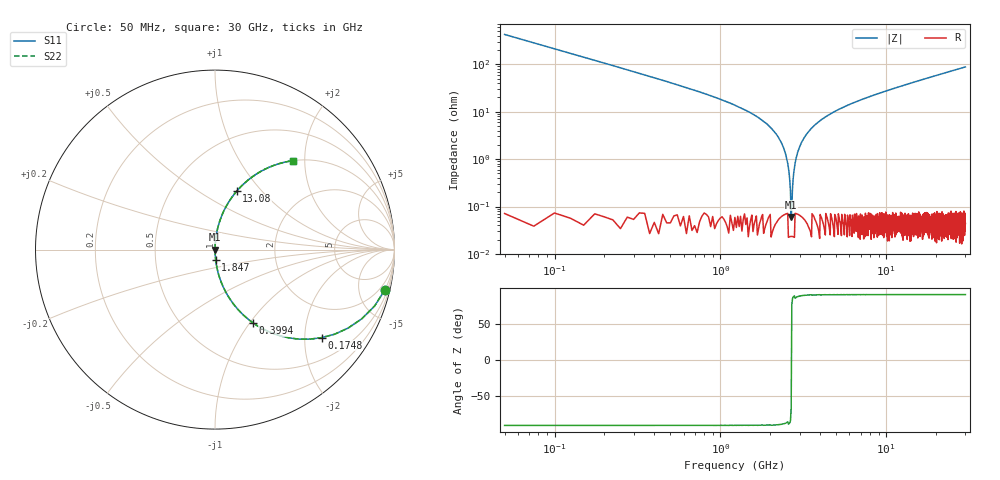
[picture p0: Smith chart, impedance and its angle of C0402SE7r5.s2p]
!	AVX Thin Film Operation 	Date: April 2014
!	Description: Accu-P® Series, Thin Film  SMD RF Capacitor
!	Part Number: 04025J7R5BBSTR
# MHZ S MA R 50
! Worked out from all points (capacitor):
!   1201 points, 50 MHz to 30 GHz, reference 50 ohm
!   read as one part in series: C = 7.5 pF near 199.8 MHz
!   lowest |Z| = 60.5 mohm at 2.671 GHz (marker M1)
!   series resonance near 2.68 GHz, so ESL is about 470 pH
!   S11 on the Smith chart (normalised r, x): 50 MHz: 1.01, -8.48; 174.8 MHz: 1.00, -2.42; 399.4 MHz: 1.00, -1.04; 1.847 GHz: 1.00, -0.12; 13.08 GHz: 1.00, +0.74; 30 GHz: 1.00, +1.76
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50  0.973 -13.3  0.229 76.7  0.229 76.7  0.973 -13.3
174.792  0.77 -39.6  0.637 50.4  0.637 50.4  0.77 -39.6
399.417  0.461 -62.5  0.887 27.4  0.887 27.4  0.461 -62.5
823.708  0.227 -76.8  0.973 13.1  0.973 13.1  0.227 -76.8
1847  0.06 -86.1  0.998 3.5  0.998 3.5  0.06 -86.1
2321.208  0.023 -87.5  0.999 1.3  0.999 1.3  0.023 -87.5
2446  0.014 -87.3  0.999 0.8  0.999 0.8  0.014 -87.3
2570.792  0.006605 -85.5  1 0.4  1 0.4  0.006605 -85.5
2670.625  0.0007276 -49.7  1 0.0  1 0.0  0.0007276 -49.7
2795.417  0.006692 85.6  1 -0.4  1 -0.4  0.006692 85.6
2895.25  0.012 87.1  0.999 -0.7  0.999 -0.7  0.012 87.1
2995.083  0.018 87.5  0.999 -1.0  0.999 -1.0  0.018 87.5
3319.542  0.034 87.3  0.999 -2.0  0.999 -2.0  0.034 87.3
4018.375  0.066 85.8  0.997 -3.8  0.997 -3.8  0.066 85.8
5041.667  0.106 83.7  0.994 -6.1  0.994 -6.1  0.106 83.7
7063.292  0.176 79.7  0.984 -10.1  0.984 -10.1  0.176 79.7
10058.29  0.266 74.5  0.964 -15.4  0.964 -15.4  0.266 74.5
13078.25  0.347 69.6  0.937 -20.3  0.937 -20.3  0.347 69.6
15025  0.395 66.7  0.918 -23.2  0.918 -23.2  0.395 66.7
20016.67  0.502 59.8  0.864 -30.1  0.864 -30.1  0.502 59.8
25033.29  0.59 53.8  0.807 -36.2  0.807 -36.2  0.59 53.8
30000  0.66 48.7  0.751 -41.3  0.751 -41.3  0.66 48.7
